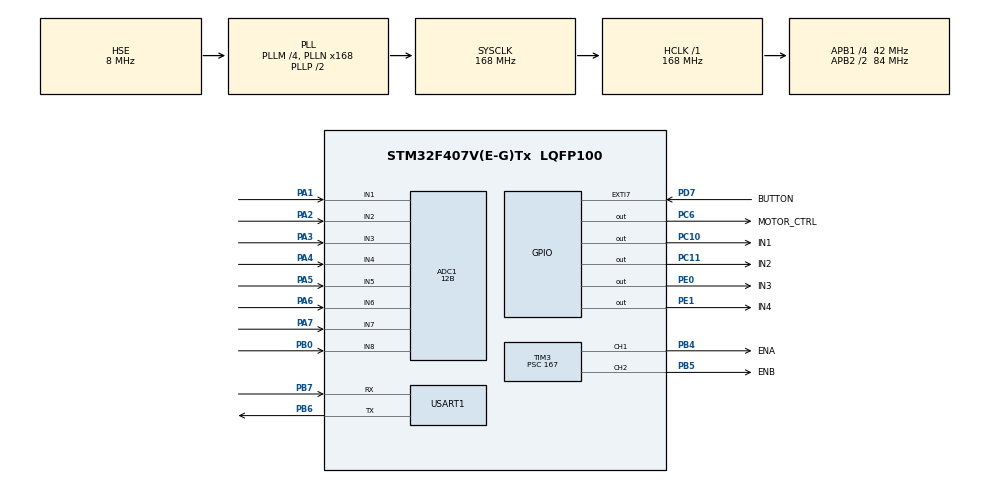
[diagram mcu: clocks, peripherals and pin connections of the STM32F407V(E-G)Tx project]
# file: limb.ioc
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ADC1.Channel-0\#ChannelRegularConversion=ADC_CHANNEL_1
ADC1.Channel-1\#ChannelRegularConversion=ADC_CHANNEL_2
ADC1.Channel-2\#ChannelRegularConversion=ADC_CHANNEL_3
ADC1.Channel-3\#ChannelRegularConversion=ADC_CHANNEL_4
ADC1.Channel-4\#ChannelRegularConversion=ADC_CHANNEL_5
ADC1.Channel-5\#ChannelRegularConversion=ADC_CHANNEL_6
ADC1.Channel-6\#ChannelRegularConversion=ADC_CHANNEL_7
ADC1.Channel-7\#ChannelRegularConversion=ADC_CHANNEL_8
ADC1.ClockPrescaler=ADC_CLOCK_SYNC_PCLK_DIV8
ADC1.ContinuousConvMode=ENABLE
ADC1.DMAContinuousRequests=ENABLE
ADC1.DataAlign=ADC_DATAALIGN_RIGHT
ADC1.DiscontinuousConvMode=DISABLE
ADC1.EOCSelection=ADC_EOC_SINGLE_CONV
ADC1.EnableAnalogWatchDog=false
ADC1.ExternalTrigConv=ADC_SOFTWARE_START
ADC1.ExternalTrigConvEdge=ADC_EXTERNALTRIGCONVEDGE_NONE
ADC1.InjNumberOfConversion=0
ADC1.NbrOfConversion=8
ADC1.NbrOfConversionFlag=1
ADC1.Rank-0\#ChannelRegularConversion=1
ADC1.Rank-1\#ChannelRegularConversion=2
ADC1.Rank-2\#ChannelRegularConversion=3
ADC1.Rank-3\#ChannelRegularConversion=4
ADC1.Rank-4\#ChannelRegularConversion=5
ADC1.Rank-5\#ChannelRegularConversion=6
ADC1.Rank-6\#ChannelRegularConversion=7
ADC1.Rank-7\#ChannelRegularConversion=8
ADC1.Resolution=ADC_RESOLUTION_12B
ADC1.SamplingTime-0\#ChannelRegularConversion=ADC_SAMPLETIME_144CYCLES
ADC1.SamplingTime-1\#ChannelRegularConversion=ADC_SAMPLETIME_144CYCLES
ADC1.SamplingTime-2\#ChannelRegularConversion=ADC_SAMPLETIME_144CYCLES
ADC1.SamplingTime-3\#ChannelRegularConversion=ADC_SAMPLETIME_144CYCLES
ADC1.SamplingTime-4\#ChannelRegularConversion=ADC_SAMPLETIME_144CYCLES
ADC1.SamplingTime-5\#ChannelRegularConversion=ADC_SAMPLETIME_144CYCLES
ADC1.SamplingTime-6\#ChannelRegularConversion=ADC_SAMPLETIME_144CYCLES
ADC1.SamplingTime-7\#ChannelRegularConversion=ADC_SAMPLETIME_144CYCLES
ADC1.ScanConvMode=ENABLE
ADC1.master=1
Dma.ADC1.0.Direction=DMA_PERIPH_TO_MEMORY
Dma.ADC1.0.FIFOMode=DMA_FIFOMODE_DISABLE
Dma.ADC1.0.Instance=DMA2_Stream0
Dma.ADC1.0.MemDataAlignment=DMA_MDATAALIGN_WORD
Dma.ADC1.0.MemInc=DMA_MINC_ENABLE
Dma.ADC1.0.Mode=DMA_CIRCULAR
Dma.ADC1.0.PeriphDataAlignment=DMA_PDATAALIGN_WORD
Dma.ADC1.0.PeriphInc=DMA_PINC_DISABLE
Dma.ADC1.0.Priority=DMA_PRIORITY_HIGH
Dma.Request0=ADC1
Mcu.Family=STM32F4
Mcu.Name=STM32F407V(E-G)Tx
Mcu.Package=LQFP100
NVIC.DMA2_Stream0_IRQn=true\:3\:0\:true\:false\:true\:false
NVIC.EXTI9_5_IRQn=true\:1\:0\:true\:false\:true\:true
NVIC.PriorityGroup=NVIC_PRIORITYGROUP_2
NVIC.TIM3_IRQn=true\:3\:0\:true\:false\:true\:true
NVIC.TIM6_DAC_IRQn=true\:2\:0\:true\:false\:true\:true
PA1.Signal=ADCx_IN1
PA2.Signal=ADCx_IN2
PA3.Signal=ADCx_IN3
PA4.Signal=ADCx_IN4
PA5.Signal=ADCx_IN5
PA6.Signal=ADCx_IN6
PA7.Signal=ADCx_IN7
PB0.Signal=ADCx_IN8
PB4.GPIO_Label=ENA
PB4.Signal=S_TIM3_CH1
PB5.GPIO_Label=ENB
PB5.Signal=S_TIM3_CH2
PB6.Mode=Asynchronous
PB6.Signal=USART1_TX
PB7.Mode=Asynchronous
PB7.Signal=USART1_RX
PC10.GPIO_Label=IN1
PC10.Signal=GPIO_Output
PC11.GPIO_Label=IN2
PC11.Signal=GPIO_Output
PC6.GPIO_Label=MOTOR_CTRL
PC6.PinState=GPIO_PIN_SET
PC6.Signal=GPIO_Output
PD7.GPIO_Label=BUTTON
PD7.GPIO_ModeDefaultEXTI=GPIO_MODE_IT_FALLING
PD7.GPIO_PuPd=GPIO_PULLUP
PD7.Signal=GPXTI7
PE0.GPIO_Label=IN3
PE0.Signal=GPIO_Output
PE1.GPIO_Label=IN4
PE1.Signal=GPIO_Output
PH0-OSC_IN.Mode=HSE-External-Oscillator
PH0-OSC_IN.Signal=RCC_OSC_IN
PH1-OSC_OUT.Mode=HSE-External-Oscillator
PH1-OSC_OUT.Signal=RCC_OSC_OUT
ProjectManager.HeapSize=0x200
ProjectManager.StackSize=0x400
ProjectManager.TargetToolchain=MDK-ARM V5
RCC.48MHZClocksFreq_Value=84000000
RCC.AHBFreq_Value=168000000
RCC.APB1CLKDivider=RCC_HCLK_DIV4
RCC.APB1Freq_Value=42000000
RCC.APB1TimFreq_Value=84000000
RCC.APB2CLKDivider=RCC_HCLK_DIV2
RCC.APB2Freq_Value=84000000
RCC.APB2TimFreq_Value=168000000
RCC.CortexFreq_Value=168000000
RCC.HCLKFreq_Value=168000000
RCC.HSE_VALUE=8000000
RCC.HSI_VALUE=16000000
RCC.LSE_VALUE=32768
RCC.PLLM=4
RCC.PLLN=168
RCC.PLLSourceVirtual=RCC_PLLSOURCE_HSE
RCC.SYSCLKFreq_VALUE=168000000
RCC.SYSCLKSource=RCC_SYSCLKSOURCE_PLLCLK
RCC.VCOOutputFreq_Value=336000000
SH.ADCx_IN1.0=ADC1_IN1,IN1
SH.ADCx_IN2.0=ADC1_IN2,IN2
SH.ADCx_IN3.0=ADC1_IN3,IN3
SH.ADCx_IN4.0=ADC1_IN4,IN4
SH.ADCx_IN5.0=ADC1_IN5,IN5
SH.ADCx_IN6.0=ADC1_IN6,IN6
SH.ADCx_IN7.0=ADC1_IN7,IN7
SH.ADCx_IN8.0=ADC1_IN8,IN8
SH.S_TIM3_CH1.0=TIM3_CH1,PWM Generation1 CH1
SH.S_TIM3_CH2.0=TIM3_CH2,PWM Generation2 CH2
TIM3.Channel-PWM\ Generation1\ CH1=TIM_CHANNEL_1
TIM3.Channel-PWM\ Generation2\ CH2=TIM_CHANNEL_2
TIM3.Period=50
TIM3.Prescaler=167
TIM3.Pulse-PWM\ Generation1\ CH1=25
TIM6.Period=1000
TIM6.Prescaler=83
USART1.VirtualMode=VM_ASYNC
VP_TIM6_VS_ClockSourceINT.Mode=Enable_Timer
board=limb

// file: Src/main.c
/**
  ******************************************************************************
  * File Name          : main.c
  * Description        : Main program body
  ******************************************************************************
  ** This notice applies to any and all portions of this file
  * that are not between comment pairs USER CODE BEGIN and
  * USER CODE END. Other portions of this file, whether
  * inserted by the user or by software development tools
  * are owned by their respective copyright owners.
  *
  * COPYRIGHT(c) 2018 STMicroelectronics
  *
  * Redistribution and use in source and binary forms, with or without modification,
  * are permitted provided that the following conditions are met:
  *   1. Redistributions of source code must retain the above copyright notice,
  *      this list of conditions and the following disclaimer.
  *   2. Redistributions in binary form must reproduce the above copyright notice,
  *      this list of conditions and the following disclaimer in the documentation
  *      and/or other materials provided with the distribution.
  *   3. Neither the name of STMicroelectronics nor the names of its contributors
  *      may be used to endorse or promote products derived from this software
  *      without specific prior written permission.
  *
  * THIS SOFTWARE IS PROVIDED BY THE COPYRIGHT HOLDERS AND CONTRIBUTORS "AS IS"
  * AND ANY EXPRESS OR IMPLIED WARRANTIES, INCLUDING, BUT NOT LIMITED TO, THE
  * IMPLIED WARRANTIES OF MERCHANTABILITY AND FITNESS FOR A PARTICULAR PURPOSE ARE
  * DISCLAIMED. IN NO EVENT SHALL THE COPYRIGHT HOLDER OR CONTRIBUTORS BE LIABLE
  * FOR ANY DIRECT, INDIRECT, INCIDENTAL, SPECIAL, EXEMPLARY, OR CONSEQUENTIAL
  * DAMAGES (INCLUDING, BUT NOT LIMITED TO, PROCUREMENT OF SUBSTITUTE GOODS OR
  * SERVICES; LOSS OF USE, DATA, OR PROFITS; OR BUSINESS INTERRUPTION) HOWEVER
  * CAUSED AND ON ANY THEORY OF LIABILITY, WHETHER IN CONTRACT, STRICT LIABILITY,
  * OR TORT (INCLUDING NEGLIGENCE OR OTHERWISE) ARISING IN ANY WAY OUT OF THE USE
  * OF THIS SOFTWARE, EVEN IF ADVISED OF THE POSSIBILITY OF SUCH DAMAGE.
  *
  ******************************************************************************
  */

#include "main.h"
#include "stm32f4xx_hal.h"
#include "adc.h"
#include "dma.h"
#include "tim.h"
#include "usart.h"
#include "gpio.h"

/* USER CODE BEGIN Includes */
#include "config.h"
#include "button.h"
#include "motor.h"
#include "calculate.h"
#include "DCMotor.h"

/* USER CODE END Includes */

/* USER CODE BEGIN PV */
/* Private variables ---------------------------------------------------------*/
uint8_t PredictResult[500]={0};
uint8_t motiondetect=0;
/* USER CODE END PV */

void SystemClock_Config(void);

/* USER CODE BEGIN PFP */
/* Private function prototypes -----------------------------------------------*/

/* USER CODE END PFP */

int main(void)
{

  /* MCU Configuration----------------------------------------------------------*/

  /* Reset of all peripherals, Initializes the Flash interface and the Systick. */
  HAL_Init();

  /* Configure the system clock */
  SystemClock_Config();

  /* Initialize all configured peripherals */
  MX_GPIO_Init();
  MX_DMA_Init();
  MX_ADC1_Init();
  MX_USART1_UART_Init();
  MX_TIM6_Init();
  MX_TIM3_Init();

  /* USER CODE BEGIN 2 */
	HAL_TIM_Base_Start_IT(&htim6);//定时器中断开启
  HAL_ADC_Start_DMA(&hadc1,AD_Value,8);//ADC循环模式开启
	InitFilter();//滤波器初始化
	Motor_Long_Strong();//电机震动

  HAL_TIM_Base_Start_IT(&htim3);
	HAL_TIM_PWM_Start(&htim3,TIM_CHANNEL_1);
	HAL_TIM_PWM_Start(&htim3,TIM_CHANNEL_2);
  /* USER CODE END 2 */

  /* Infinite loop */
  while (1)
  {

  /* USER CODE BEGIN 3 */

    #if 1
    TaskKeyFunc();
		if(TimeFlag)
		{
			TimeFlag = 0;
			DataPreProcess();
		}

    if(TrainFlag ==1)
	  {
			 if((DataBufferSize-FeatIndexReg+PushToBuf.DataIndex)%100==0)
			 {
					FeatExtract(DataBuffer);
				  if((TrainBlank+3)%50>=9)///6-46, 56-96.............
					{
						for(int i=0;i<N;i++)
						{
						 feat_matrix[WindowCount][i]=feat[i];
						}
						WindowCount++;//WindowCount++
						///训练的时候显示
						if(WindowCount == 41)
							{printf("Train action 1\r\n");}
						if((WindowCount == 41*2)||(WindowCount == 41*3))
							{printf("Train action 2\r\n");}
						if((WindowCount == 41*4)||(WindowCount == 41*5))
							{printf("Train action 3\r\n");}
						if((WindowCount == 41*6)||(WindowCount == 41*7))
							{printf("Train action 4\r\n");}
//						if((WindowCount == 41*8)||(WindowCount == 41*9))
//							{printf("Train action 5\r\n");}
						if(WindowCount==FeatMatLength)
							{printf("Train complete\r\n");}
						///训练的时候显示
          }
          TrainBlank++;	///397就结束
			 }
			 if(WindowCount==FeatMatLength)//训练数据收集完成
			 {
				 LDA_train(feat_matrix);
				//数据float32_t ProjectionMat[32][6];float32_t Bias_Mat[6];存储在w25q128
//          Save_to_flash();
//					LED1=0;HAL_Delay(50);LED2=0;HAL_Delay(50);LED3=0;HAL_Delay(50);LED4=0;HAL_Delay(50);LED5=0;HAL_Delay(50);//提示存储
//					LED1=1;HAL_Delay(50);LED2=1;HAL_Delay(50);LED3=1;HAL_Delay(50);LED4=1;HAL_Delay(50);LED5=1;HAL_Delay(50);
				}
	  }

		if(TestFlag==1)
		{
			if((DataBufferSize-FeatIndexReg+PushToBuf.DataIndex)%100==0)
			{
				FeatExtract(DataBuffer);
				PredictResult[PredictIndex%500]=LDA_predict(feat);
				motiondetect=PredictResult[PredictIndex%500];
				if(PredictIndex>1&&PredictResult[PredictIndex%500]==PredictResult[(PredictIndex-1)%500]&&
				  PredictResult[(PredictIndex-1)%500]==PredictResult[(PredictIndex-2)%500])
				{
					switch(motiondetect)
					{
					case 0:
						//USART_SendData(USART1, 'N');
						//模式1
						{printf("1\r\n");}
						break;
					case 1:
						//USART_SendData(USART1, 'P');
						//模式2
						{printf("2\r\n");}
						break;
					case 2:
						//USART_SendData(USART1, 'R');
						//模式3
						{printf("3\r\n");}
						MotorA_Reverse();
						break;
					case 3:
						//USART_SendData(USART1, 'T');
						//模式4
						{printf("4\r\n");}
						MotorA_Forward();
						break;
					case 4:
						//USART_SendData(USART1, '0');
						//模式5
					 {printf("r\r\n");}
					 MotorA_Stop();
						break;
					default:
							break;
					 }
				}
				PredictIndex++;//PredictIndex++;
				if(PredictIndex ==500)
				{
					PredictIndex = 0;
				}
			}
		}
  #endif
  }
  /* USER CODE END 3 */

}

/** System Clock Configuration
*/
void SystemClock_Config(void)
{

  RCC_OscInitTypeDef RCC_OscInitStruct;
  RCC_ClkInitTypeDef RCC_ClkInitStruct;

    /**Configure the main internal regulator output voltage
    */
  __HAL_RCC_PWR_CLK_ENABLE();

  __HAL_PWR_VOLTAGESCALING_CONFIG(PWR_REGULATOR_VOLTAGE_SCALE1);

    /**Initializes the CPU, AHB and APB busses clocks
    */
  RCC_OscInitStruct.OscillatorType = RCC_OSCILLATORTYPE_HSE;
  RCC_OscInitStruct.HSEState = RCC_HSE_ON;
  RCC_OscInitStruct.PLL.PLLState = RCC_PLL_ON;
  RCC_OscInitStruct.PLL.PLLSource = RCC_PLLSOURCE_HSE;
  RCC_OscInitStruct.PLL.PLLM = 4;
  RCC_OscInitStruct.PLL.PLLN = 168;
  RCC_OscInitStruct.PLL.PLLP = RCC_PLLP_DIV2;
  RCC_OscInitStruct.PLL.PLLQ = 4;
  if (HAL_RCC_OscConfig(&RCC_OscInitStruct) != HAL_OK)
  {
    _Error_Handler(__FILE__, __LINE__);
  }

    /**Initializes the CPU, AHB and APB busses clocks
    */
  RCC_ClkInitStruct.ClockType = RCC_CLOCKTYPE_HCLK|RCC_CLOCKTYPE_SYSCLK
                              |RCC_CLOCKTYPE_PCLK1|RCC_CLOCKTYPE_PCLK2;
  RCC_ClkInitStruct.SYSCLKSource = RCC_SYSCLKSOURCE_PLLCLK;
  RCC_ClkInitStruct.AHBCLKDivider = RCC_SYSCLK_DIV1;
  RCC_ClkInitStruct.APB1CLKDivider = RCC_HCLK_DIV4;
  RCC_ClkInitStruct.APB2CLKDivider = RCC_HCLK_DIV2;

  if (HAL_RCC_ClockConfig(&RCC_ClkInitStruct, FLASH_LATENCY_5) != HAL_OK)
  {
    _Error_Handler(__FILE__, __LINE__);
  }

    /**Configure the Systick interrupt time
    */
  HAL_SYSTICK_Config(HAL_RCC_GetHCLKFreq()/1000);

    /**Configure the Systick
    */
  HAL_SYSTICK_CLKSourceConfig(SYSTICK_CLKSOURCE_HCLK);

  /* SysTick_IRQn interrupt configuration */
  HAL_NVIC_SetPriority(SysTick_IRQn, 0, 0);
}

/* USER CODE BEGIN 4 */
//void HAL_TIM_PeriodElapsedCallback(TIM_HandleTypeDef *htim)
//{
//	static uint8_t period_cnt = 0;
//	period_cnt++;
//	if (period_cnt >= 20)
//	{
//    htim3.Instance->CCR1=	25;
//	}
//	period_cnt=0;
//}
/* USER CODE END 4 */

void _Error_Handler(char * file, int line)
{
  while(1)
  {
  }
}

/************************ (C) COPYRIGHT STMicroelectronics *****END OF FILE****/
